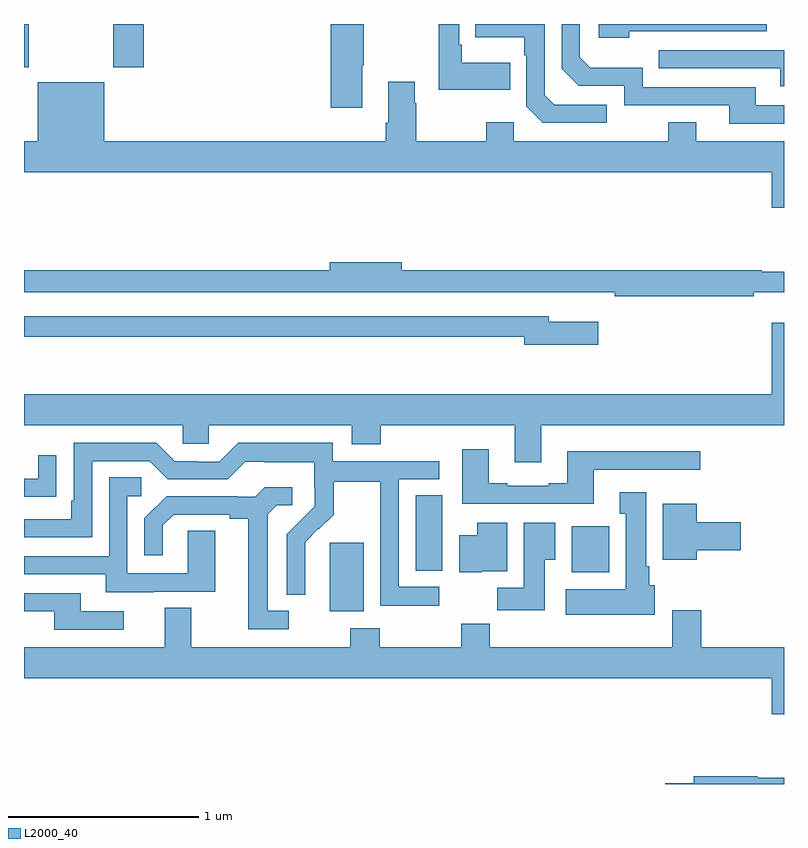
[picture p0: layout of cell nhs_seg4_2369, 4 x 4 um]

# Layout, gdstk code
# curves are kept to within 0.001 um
import gdstk
lib = gdstk.Library(unit=1e-6, precision=1e-09)
def R(c, l, rs):  # rectangles x0, y0, x1, y1
    for r in rs: c.add(gdstk.rectangle(r[:2], r[2:], *l))
def P(c, l, *ps):  # polygons
    for p in ps: c.add(gdstk.Polygon(p, *l))
L2000_40 = (2000, 40)

nhs_seg4_2369 = lib.new_cell('nhs_seg4_2369')
R(nhs_seg4_2369, L2000_40, [(234.608,827.81,234.787,828.171), (235.883,828.014,236.08,828.256), (235.061,828.022,235.201,828.419), (233,830.673,233.025,830.9), (233.47,830.673,233.63,830.9)])
P(nhs_seg4_2369, L2000_40, [(236.186,830.862),(236.91,830.862),(236.91,830.9),(236.025,830.9),(236.025,830.828),(236.186,830.828)],
  [(237,830.472),(236.851,830.472),(236.851,830.568),(236.256,830.568),(236.256,830.671),(235.979,830.671),(235.926,830.724),(235.926,830.9),(235.83,830.9),(235.83,830.664),(235.92,830.574),(236.16,830.574),(236.16,830.472),(236.711,830.472),(236.711,830.376),(237,830.376)],
  [(236.068,830.475),(235.791,830.475),(235.74,830.526),(235.74,830.9),(235.375,830.9),(235.375,830.831),(235.632,830.831),(235.632,830.735),(235.644,830.735),(235.644,830.466),(235.731,830.379),(236.068,830.379)],
  [(234.781,830.683),(234.789,830.683),(234.789,830.9),(234.614,830.9),(234.614,830.46),(234.781,830.46)],
  [(235.559,830.695),(235.303,830.695),(235.303,830.791),(235.29,830.791),(235.29,830.9),(235.182,830.9),(235.182,830.555),(235.559,830.555)],
  [(237,830.763),(236.341,830.763),(236.341,830.667),(236.981,830.667),(236.981,830.573),(237,830.573)],
  [(236.936,829.932),(237,829.932),(237,830.284),(236.539,830.284),(236.539,830.383),(236.392,830.383),(236.392,830.284),(235.578,830.284),(235.578,830.383),(235.432,830.383),(235.432,830.284),(235.065,830.284),(235.065,830.483),(235.057,830.483),(235.057,830.596),(234.917,830.596),(234.917,830.38),(234.905,830.38),(234.905,830.284),(233.422,830.284),(233.422,830.593),(233.072,830.593),(233.072,830.284),(233,830.284),(233,830.12),(236.936,830.12)],
  [(236.84,829.487),(237,829.487),(237,829.597),(236.884,829.597),(236.884,829.604),(234.988,829.604),(234.988,829.647),(234.608,829.647),(234.608,829.604),(233,829.604),(233,829.488),(235.858,829.488),(235.858,829.487),(236.11,829.487),(236.11,829.468),(236.84,829.468)],
  [(236.023,829.333),(235.762,829.333),(235.762,829.362),(233,829.362),(233,829.254),(235.634,829.254),(235.634,829.211),(236.023,829.211)],
  [(235.723,828.788),(237,828.788),(237,829.327),(236.936,829.327),(236.936,828.952),(233,828.952),(233,828.788),(233.835,828.788),(233.835,828.69),(233.973,828.69),(233.973,828.788),(234.725,828.788),(234.725,828.689),(234.878,828.689),(234.878,828.788),(235.583,828.788),(235.583,828.594),(235.723,828.594)],
  [(235.186,827.937),(234.972,827.937),(234.972,828.504),(235.186,828.504),(235.186,828.6),(234.624,828.6),(234.624,828.697),(234.127,828.697),(234.027,828.597),(233.912,828.597),(233.912,828.6),(233.793,828.6),(233.697,828.696),(233.262,828.696),(233.262,828.391),(233.249,828.391),(233.249,828.294),(233,828.294),(233,828.198),(233.358,828.198),(233.358,828.6),(233.661,828.6),(233.757,828.504),(234.072,828.504),(234.165,828.597),(234.265,828.597),(234.265,828.593),(234.528,828.593),(234.528,828.459),(234.53,828.459),(234.53,828.362),(234.384,828.214),(234.384,827.896),(234.48,827.896),(234.479,828.173),(234.549,828.243),(234.552,828.24),(234.629,828.317),(234.629,828.492),(234.874,828.492),(234.874,828.268),(234.876,828.268),(234.876,827.839),(235.186,827.839)],
  [(235.999,828.555),(236.56,828.555),(236.56,828.652),(235.859,828.652),(235.859,828.484),(235.763,828.484),(235.763,828.471),(235.543,828.471),(235.543,828.484),(235.447,828.484),(235.447,828.661),(235.307,828.661),(235.307,828.375),(235.999,828.375)],
  [(233.069,828.412),(233.171,828.412),(233.171,828.631),(233.075,828.631),(233.075,828.507),(233,828.507),(233,828.411),(233.069,828.411)],
  [(233.683,827.913),(234.007,827.913),(234.007,828.233),(233.862,828.233),(233.862,828.009),(233.544,828.009),(233.544,828.414),(233.617,828.414),(233.617,828.515),(233.448,828.515),(233.448,828.099),(233,828.099),(233,828.003),(233.429,828.003),(233.429,827.909),(233.683,827.909)],
  [(234.394,827.811),(234.283,827.811),(234.283,828.319),(234.33,828.366),(234.412,828.366),(234.412,828.463),(234.268,828.463),(234.216,828.411),(234.122,828.411),(234.122,828.414),(233.75,828.414),(233.634,828.298),(233.634,828.105),(233.731,828.105),(233.731,828.261),(233.788,828.318),(234.083,828.318),(234.083,828.296),(234.179,828.296),(234.179,827.715),(234.394,827.715)],
  [(236.32,827.946),(236.29,827.946),(236.29,828.046),(236.275,828.046),(236.275,828.436),(236.135,828.436),(236.135,828.323),(236.168,828.323),(236.168,827.926),(235.851,827.926),(235.851,827.792),(236.32,827.792)],
  [(236.542,828.131),(236.773,828.131),(236.773,828.278),(236.542,828.278),(236.542,828.376),(236.363,828.376),(236.363,828.08),(236.542,828.08)],
  [(235.741,828.08),(235.795,828.08),(235.795,828.274),(235.631,828.274),(235.631,827.932),(235.492,827.932),(235.492,827.814),(235.741,827.814)],
  [(235.41,828.02),(235.543,828.02),(235.543,828.274),(235.385,828.274),(235.385,828.208),(235.292,828.208),(235.292,828.014),(235.41,828.014)],
  [(233.524,827.808),(233.299,827.808),(233.299,827.904),(233,827.904),(233,827.808),(233.159,827.808),(233.159,827.712),(233.524,827.712)],
  [(237,827.62),(236.564,827.62),(236.564,827.815),(236.411,827.815),(236.411,827.62),(235.451,827.62),(235.451,827.744),(235.3,827.744),(235.3,827.62),(234.873,827.62),(234.873,827.719),(234.718,827.719),(234.718,827.62),(233.881,827.62),(233.881,827.828),(233.741,827.828),(233.741,827.62),(233,827.62),(233,827.456),(236.936,827.456),(236.936,827.268),(237,827.268)],
  [(237,826.933),(236.86,826.933),(236.86,826.94),(236.525,826.94),(236.525,826.904),(236.376,826.904),(236.376,826.9),(237,826.9)])

lib.write_gds('nhs_seg4_2369.gds')
